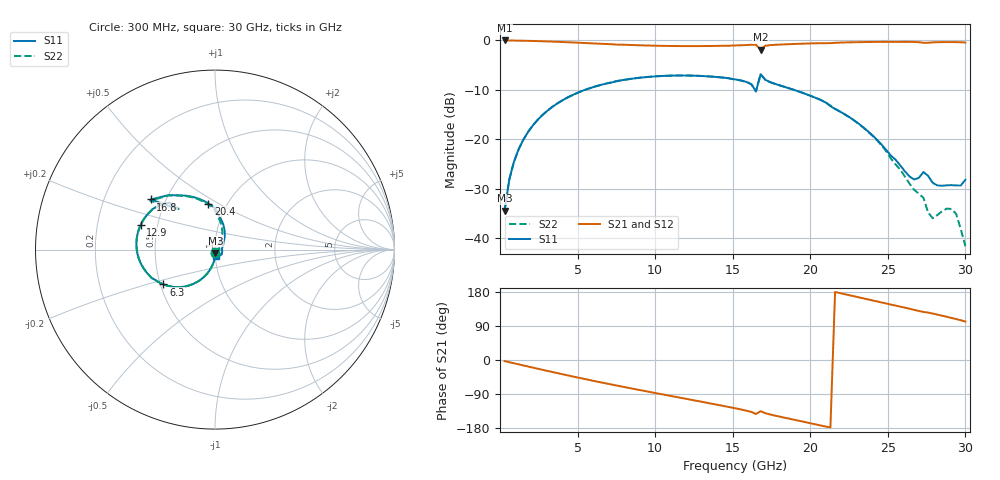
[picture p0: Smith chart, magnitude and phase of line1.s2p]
! Created Thu Feb 13 09:01:10 2025
! List of port names and net name(s): example Port n = <port_name> <net_name1> <net_name2> ...
! Port 1 = P1 N__11 P2 N_gnd
! Port 2 = P4 N__11 N_gnd P2
# hz S ma R 50
! 2 Port Network Data from data block
! freq  magS11  angS11  magS21  angS21  magS12  angS12  magS22  angS22
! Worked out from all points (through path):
!   100 points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, 300 MHz to 30 GHz, reference 50 ohm
!   highest |S21| = -0.03 dB at 300 MHz (marker M1); lowest = -1.9 dB at 16.8 GHz (marker M2)
!   group delay of S21, straight-line fit = 23.2 ps
!   lowest |S11| = -34.5 dB at 300 MHz (marker M3), VSWR 1.04, Z = 50.2 - j1.87 ohm
!   |S11| at or under -10 dB: start of sweep to 5.516 GHz; 16.43 GHz to 16.53 GHz (93.33 MHz wide, 0.566 % of centre); 18.92 GHz to end of sweep
!   |S22| runs from -41.7 to -6.9 dB; largest |S21 - S12| = 0
!   S11 on the Smith chart (normalised r, x): 300 MHz: 1.00, -0.04; 6.3 GHz: 0.52, -0.23; 12.9 GHz: 0.40, +0.14; 16.8 GHz: 0.41, +0.29; 20.4 GHz: 0.82, +0.45; 30 GHz: 1.01, -0.08
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3e8  0.01884 -81.6  0.9961 -2.9  0.9961 -2.9  0.01883 -81.6
9e8  0.05887 -93.8  0.9933 -8.6  0.9933 -8.6  0.05887 -93.8
1.8e9  0.1174 -104.3  0.9872 -17.1  0.9872 -17.1  0.1174 -104.4
3.3e9  0.2077 -119.2  0.9707 -31.0  0.9707 -31.0  0.2077 -119.2
5.4e9  0.3115 -138.2  0.9394 -49.6  0.9394 -49.6  0.3116 -138.3
6.3e9  0.3465 -145.9  0.9255 -57.3  0.9255 -57.3  0.3466 -146.1
1.02e10  0.4333 -177.5  0.8803 -88.6  0.8803 -88.6  0.4335 -177.7
1.29e10  0.4361 161.5  0.874 -109.4  0.874 -109.4  0.4362 161.3
1.53e10  0.3986 142.1  0.8879 -128.5  0.8879 -128.5  0.3985 142.1
1.65e10  0.305 132.3  0.9023 -142.5  0.9023 -142.5  0.3036 131.8
1.68e10  0.4539 142.0  0.8041 -135.1  0.8041 -135.1  0.4525 143.0
1.77e10  0.3635 123.6  0.8995 -146.5  0.8995 -146.5  0.3636 124.2
2.01e10  0.271 101.1  0.9303 -167.7  0.9303 -167.7  0.2712 102.7
2.04e10  0.2594 98.1  0.9325 -170.4  0.9325 -170.4  0.2599 100.0
2.34e10  0.1323 67.5  0.9592 162.9  0.9592 162.9  0.1316 73.3
2.52e10  0.06807 44.2  0.9636 146.2  0.9636 146.2  0.0635 57.8
2.64e10  0.04186 15.5  0.9641 135.2  0.9641 135.2  0.03545 50.9
2.73e10  0.04648 -33.3  0.9431 126.8  0.9431 126.8  0.0254 -5.6
2.79e10  0.03608 -81.8  0.9529 122.5  0.9529 122.5  0.0158 -115.7
2.88e10  0.03408 -101.8  0.9591 114.0  0.9591 114.0  0.0198 -155.1
2.94e10  0.03398 -102.6  0.9581 108.1  0.9581 108.1  0.01757 -161.3
3e10  0.03881 -78.5  0.9489 101.5  0.9489 101.5  0.008256 -80.7
